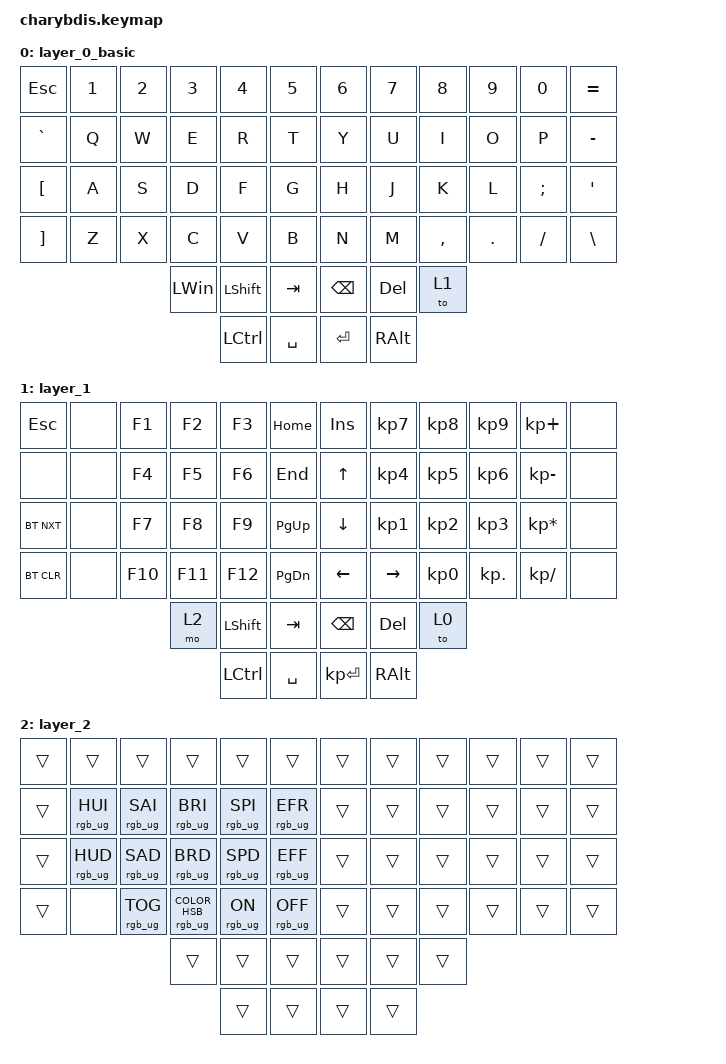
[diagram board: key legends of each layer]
#include <behaviors.dtsi>
#include <dt-bindings/zmk/bt.h>
#include <dt-bindings/zmk/keys.h>
#include <dt-bindings/zmk/rgb.h>

&lt {
    tapping-term-ms = <200>;
    flavor = "balanced";
    quick-tap-ms = <150>;
};

/ {
    behaviors {
        capslock: capslock {
            compatible = "zmk,behavior-tap-dance";
            label = "CAPSLOCK";
            #binding-cells = <0>;
            bindings = <&kp LEFT_SHIFT>, <&kp CAPSLOCK>;
        };
    };

    keymap {
        compatible = "zmk,keymap";

        layer_0_basic {
            bindings = <
&kp ESC            &kp N1  &kp N2  &kp N3        &kp N4          &kp N5       &kp N6         &kp N7         &kp N8     &kp N9      &kp N0     &kp EQUAL
&kp GRAVE          &kp Q   &kp W   &kp E         &kp R           &kp T        &kp Y          &kp U          &kp I      &kp O       &kp P      &kp MINUS
&kp LEFT_BRACKET   &kp A   &kp S   &kp D         &kp F           &kp G        &kp H          &kp J          &kp K      &kp L       &kp SEMI   &kp SQT
&kp RIGHT_BRACKET  &kp Z   &kp X   &kp C         &kp V           &kp B        &kp N          &kp M          &kp COMMA  &kp PERIOD  &kp SLASH  &kp BSLH
                                   &kp LEFT_WIN  &kp LEFT_SHIFT  &kp TAB      &kp BACKSPACE  &kp DELETE     &to 1
                                                 &kp LCTRL       &kp SPACE    &kp ENTER      &kp RIGHT_ALT
            >;
        };

        layer_1 {
            bindings = <
&kp ESCAPE  &none  &kp F1   &kp F2   &kp F3          &kp HOME         &kp INS        &kp KP_NUMBER_7  &kp KP_NUMBER_8  &kp KP_NUMBER_9  &kp KP_PLUS      &none
&none       &none  &kp F4   &kp F5   &kp F6          &kp END          &kp UP_ARROW   &kp KP_NUMBER_4  &kp KP_NUMBER_5  &kp KP_NUMBER_6  &kp KP_MINUS     &none
&bt BT_NXT  &none  &kp F7   &kp F8   &kp F9          &kp PAGE_UP      &kp DOWN       &kp KP_NUMBER_1  &kp KP_NUMBER_2  &kp KP_NUMBER_3  &kp KP_MULTIPLY  &none
&bt BT_CLR  &none  &kp F10  &kp F11  &kp F12         &kp PAGE_DOWN    &kp LEFT       &kp RIGHT        &kp KP_NUMBER_0  &kp KP_DOT       &kp KP_DIVIDE    &none
                            &mo 2    &kp LEFT_SHIFT  &kp TAB          &kp BACKSPACE  &kp DELETE       &to 0
                                     &kp LCTRL       &kp SPACE        &kp KP_ENTER   &kp RIGHT_ALT
            >;
        };

        layer_2 {
            bindings = <
&trans  &trans           &trans           &trans                          &trans           &trans             &trans  &trans  &trans  &trans  &trans  &trans
&trans  &rgb_ug RGB_HUI  &rgb_ug RGB_SAI  &rgb_ug RGB_BRI                 &rgb_ug RGB_SPI  &rgb_ug RGB_EFR    &trans  &trans  &trans  &trans  &trans  &trans
&trans  &rgb_ug RGB_HUD  &rgb_ug RGB_SAD  &rgb_ug RGB_BRD                 &rgb_ug RGB_SPD  &rgb_ug RGB_EFF    &trans  &trans  &trans  &trans  &trans  &trans
&trans  &none            &rgb_ug RGB_TOG  &rgb_ug RGB_COLOR_HSB(0,0,100)  &rgb_ug RGB_ON   &rgb_ug RGB_OFF    &trans  &trans  &trans  &trans  &trans  &trans
                                          &trans                          &trans           &trans             &trans  &trans  &trans
                                                                          &trans           &trans             &trans  &trans
            >;
        };

        /* layer_2 {
            bindings = <
&none  &none   &none    &none   &none         &none         &kp N1         &none         &none     &none  &none   &to 0
&none  &none   &none    &none   &none         &none         &none         &none          &rgb_ug RGB_BRD &rgb_ug RGB_BRI  &rgb_ug RGB_EFF   &rgb_ug RGB_TOG
&none  &none   &none    &none   &none         &none         &none         &mkp LCLK     &mkp RCLK  &none  &none   &none
&none  &none   &none    &none   &bt BT_NXT  &bt BT_CLR    &none         &none         &none     &none  &none   &none
                                   &none         &none         &none         &none         &none
                                                 &none         &none         &none
            >;
          trackball-bindings = <&tsl>;
            
        };

       Mouse {
            bindings = <
&none        &none         &none         &none         &none      &none         &none       &none      &none         &none         &none         &none
&none        &bt BT_SEL 0  &bt BT_SEL 1  &bt BT_SEL 3  &none      &bt BT_CLR    &bt BT_CLR  &none      &bt BT_SEL 2  &bt BT_SEL 1  &bt BT_SEL 0  &none
&none        &trans        &trans        &mkp MCLK     &trans     &none         &none       &trans     &mkp MCLK     &trans        &trans        &none
&bootloader  &trans        &mkp RCLK     &mo 4         &mkp LCLK  &mo 5         &mo 5       &mkp LCLK  &mo 4         &mkp RCLK     &trans        &bootloader
                                         &mo 5         &mkp LCLK  &mkp RCLK     &mkp RCLK   &mkp LCLK
                                                       &none      &trans        &trans
            >;

            
        };

        layer_4 {
            bindings = <
&trans  &trans  &trans     &trans     &trans     &trans       &trans     &trans     &trans     &trans     &trans  &trans
&trans  &trans  &trans     &trans     &trans     &trans       &trans     &trans     &trans     &trans     &trans  &trans
&trans  &trans  &trans     &mkp MCLK  &trans     &trans       &trans     &trans     &mkp MCLK  &trans     &trans  &trans
&trans  &trans  &mkp RCLK  &trans     &mkp LCLK  &trans       &trans     &mkp LCLK  &trans     &mkp RCLK  &trans  &trans
                           &trans     &mkp LCLK  &mkp RCLK    &mkp RCLK  &mkp LCLK
                                      &trans     &trans       &trans
            >;
                
                
                trackball-bindings = <&tsl>;
        };

        layer_5 {
            bindings = <
&trans  &trans  &trans     &trans     &trans     &trans       &trans     &trans     &trans     &trans     &trans  &trans
&trans  &trans  &trans     &trans     &trans     &trans       &trans     &trans     &trans     &trans     &trans  &trans
&trans  &trans  &trans     &mkp MCLK  &trans     &trans       &trans     &trans     &mkp MCLK  &trans     &trans  &trans
&trans  &trans  &mkp RCLK  &trans     &mkp LCLK  &trans       &trans     &mkp LCLK  &trans     &mkp RCLK  &trans  &trans
                           &trans     &mkp LCLK  &mkp RCLK    &mkp RCLK  &mkp LCLK
                                      &trans     &trans       &trans
            >;
                trackball-bindings = <&tmv_fine>;
                
        };*/
    };
};
